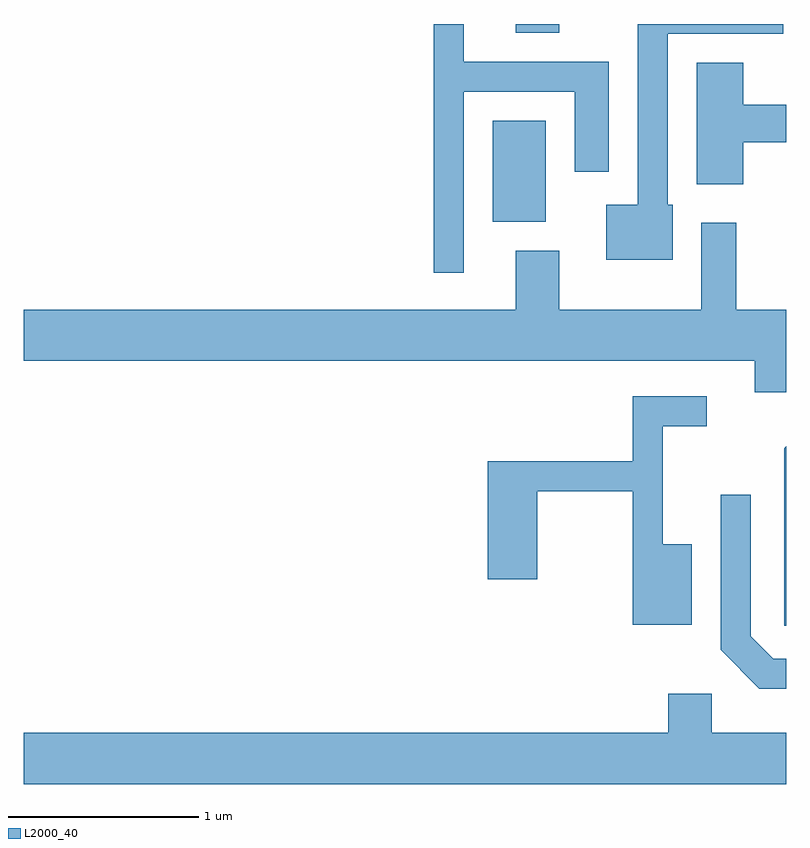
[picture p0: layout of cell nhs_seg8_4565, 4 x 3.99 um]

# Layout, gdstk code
import gdstk
lib = gdstk.Library(unit=1e-6, precision=1e-09)
def R(c, l, rs):  # rectangles x0, y0, x1, y1
    for r in rs: c.add(gdstk.rectangle(r[:2], r[2:], *l))
def P(c, l, *ps):  # polygons
    for p in ps: c.add(gdstk.Polygon(p, *l))
L2000_40 = (2000, 40)

nhs_seg8_4565 = lib.new_cell('nhs_seg8_4565')
R(nhs_seg8_4565, L2000_40, [(324.071,1899.306,324.349,1899.834), (324.191,1900.296,324.419,1900.342)])
P(nhs_seg8_4565, L2000_40, [(325.014,1899.394),(324.989,1899.394),(324.989,1900.291),(325.594,1900.291),(325.594,1900.342),(324.831,1900.342),(324.831,1899.394),(324.666,1899.394),(324.666,1899.106),(325.014,1899.106)],
  [(323.919,1899.986),(324.501,1899.986),(324.501,1899.566),(324.679,1899.566),(324.679,1900.144),(323.919,1900.144),(323.919,1900.342),(323.761,1900.342),(323.761,1899.038),(323.919,1899.038)],
  [(325.384,1899.721),(325.611,1899.721),(325.611,1899.919),(325.384,1899.919),(325.384,1900.139),(325.141,1900.139),(325.141,1899.501),(325.384,1899.501)],
  [(325.611,1898.844),(325.349,1898.844),(325.349,1899.299),(325.166,1899.299),(325.166,1898.844),(324.419,1898.844),(324.419,1899.154),(324.191,1899.154),(324.191,1898.844),(321.611,1898.844),(321.611,1898.576),(325.446,1898.576),(325.446,1898.411),(325.611,1898.411)],
  [(325.114,1897.614),(324.964,1897.614),(324.964,1898.231),(325.193,1898.231),(325.193,1898.389),(324.806,1898.389),(324.806,1898.049),(324.046,1898.049),(324.046,1897.431),(324.304,1897.431),(324.304,1897.891),(324.806,1897.891),(324.806,1897.191),(325.114,1897.191)],
  [(325.611,1898.127),(325.601,1898.117),(325.601,1897.186),(325.611,1897.186)],
  [(325.611,1897.014),(325.542,1897.014),(325.424,1897.132),(325.424,1897.873),(325.266,1897.873),(325.266,1897.059),(325.469,1896.856),(325.611,1896.856)],
  [(325.611,1896.624),(325.219,1896.624),(325.219,1896.829),(324.991,1896.829),(324.991,1896.624),(321.611,1896.624),(321.611,1896.356),(325.611,1896.356)])

lib.write_gds('nhs_seg8_4565.gds')
